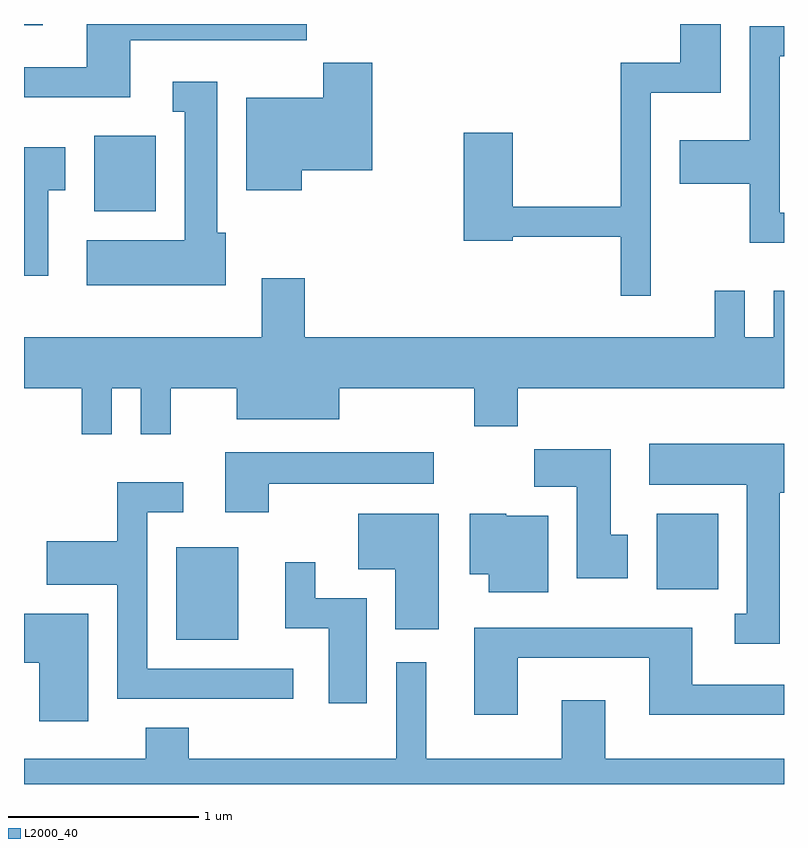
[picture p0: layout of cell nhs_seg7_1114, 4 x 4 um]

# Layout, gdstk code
import gdstk
lib = gdstk.Library(unit=1e-6, precision=1e-09)
def R(c, l, rs):  # rectangles x0, y0, x1, y1
    for r in rs: c.add(gdstk.rectangle(r[:2], r[2:], *l))
def P(c, l, *ps):  # polygons
    for p in ps: c.add(gdstk.Polygon(p, *l))
L2000_40 = (2000, 40)

nhs_seg7_1114 = lib.new_cell('nhs_seg7_1114')
R(nhs_seg7_1114, L2000_40, [(220.411,1693.011,220.739,1693.499), (222.941,1693.276,223.264,1693.674), (219.981,1695.266,220.304,1695.664), (219.611,1696.246,219.709,1696.252)])
P(nhs_seg7_1114, L2000_40, [(222.909,1695.891),(223.279,1695.891),(223.279,1696.252),(223.066,1696.252),(223.066,1696.049),(222.751,1696.049),(222.751,1695.289),(222.184,1695.289),(222.184,1695.679),(221.926,1695.679),(221.926,1695.111),(222.184,1695.111),(222.184,1695.131),(222.751,1695.131),(222.751,1694.823),(222.909,1694.823)],
  [(220.169,1696.166),(221.098,1696.166),(221.098,1696.252),(219.941,1696.252),(219.941,1696.024),(219.611,1696.024),(219.611,1695.866),(220.169,1695.866)],
  [(223.611,1695.259),(223.589,1695.259),(223.589,1696.081),(223.611,1696.081),(223.611,1696.239),(223.431,1696.239),(223.431,1695.639),(223.061,1695.639),(223.061,1695.411),(223.431,1695.411),(223.431,1695.101),(223.611,1695.101)],
  [(221.074,1695.481),(221.444,1695.481),(221.444,1696.049),(221.186,1696.049),(221.186,1695.864),(220.781,1695.864),(220.781,1695.376),(221.074,1695.376)],
  [(220.674,1695.154),(220.629,1695.154),(220.629,1695.949),(220.393,1695.949),(220.393,1695.791),(220.456,1695.791),(220.456,1695.114),(219.941,1695.114),(219.941,1694.876),(220.674,1694.876)],
  [(219.739,1695.376),(219.829,1695.376),(219.829,1695.604),(219.611,1695.604),(219.611,1694.926),(219.739,1694.926)],
  [(220.074,1694.336),(220.226,1694.336),(220.226,1694.093),(220.384,1694.093),(220.384,1694.336),(220.731,1694.336),(220.731,1694.171),(221.269,1694.171),(221.269,1694.336),(221.981,1694.336),(221.981,1694.136),(222.209,1694.136),(222.209,1694.336),(223.611,1694.336),(223.611,1694.848),(223.556,1694.848),(223.556,1694.604),(223.404,1694.604),(223.404,1694.848),(223.246,1694.848),(223.246,1694.604),(221.089,1694.604),(221.089,1694.914),(220.861,1694.914),(220.861,1694.604),(219.611,1694.604),(219.611,1694.336),(219.916,1694.336),(219.916,1694.093),(220.074,1694.093)],
  [(223.589,1693.786),(223.611,1693.786),(223.611,1694.044),(222.901,1694.044),(222.901,1693.826),(223.416,1693.826),(223.416,1693.149),(223.353,1693.149),(223.353,1692.991),(223.589,1692.991)],
  [(222.789,1693.564),(222.699,1693.564),(222.699,1694.014),(222.296,1694.014),(222.296,1693.816),(222.521,1693.816),(222.521,1693.336),(222.789,1693.336)],
  [(220.899,1693.831),(221.768,1693.831),(221.768,1693.999),(220.671,1693.999),(220.671,1693.681),(220.899,1693.681)],
  [(221.028,1692.859),(220.259,1692.859),(220.259,1693.681),(220.448,1693.681),(220.448,1693.839),(220.101,1693.839),(220.101,1693.529),(219.731,1693.529),(219.731,1693.301),(220.101,1693.301),(220.101,1692.701),(221.028,1692.701)],
  [(222.369,1693.664),(222.15,1693.664),(222.15,1693.674),(221.956,1693.674),(221.956,1693.356),(222.056,1693.356),(222.056,1693.261),(222.369,1693.261)],
  [(221.794,1693.674),(221.371,1693.674),(221.371,1693.381),(221.566,1693.381),(221.566,1693.066),(221.794,1693.066)],
  [(221.414,1693.229),(221.144,1693.229),(221.144,1693.418),(220.986,1693.418),(220.986,1693.071),(221.216,1693.071),(221.216,1692.676),(221.414,1692.676)],
  [(219.949,1693.149),(219.611,1693.149),(219.611,1692.891),(219.691,1692.891),(219.691,1692.581),(219.949,1692.581)],
  [(222.209,1692.916),(222.901,1692.916),(222.901,1692.616),(223.611,1692.616),(223.611,1692.774),(223.129,1692.774),(223.129,1693.074),(221.981,1693.074),(221.981,1692.616),(222.209,1692.616)],
  [(223.611,1692.384),(222.669,1692.384),(222.669,1692.694),(222.441,1692.694),(222.441,1692.384),(221.729,1692.384),(221.729,1692.893),(221.571,1692.893),(221.571,1692.384),(220.479,1692.384),(220.479,1692.549),(220.251,1692.549),(220.251,1692.384),(219.611,1692.384),(219.611,1692.252),(223.611,1692.252)])

lib.write_gds('nhs_seg7_1114.gds')
